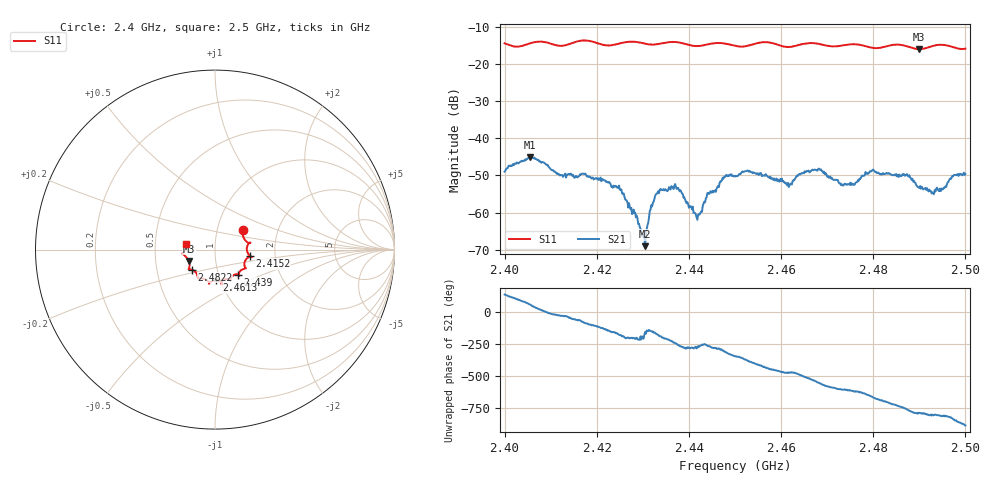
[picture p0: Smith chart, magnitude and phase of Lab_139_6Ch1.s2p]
# Hz S RI R 50
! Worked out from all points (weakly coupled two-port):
!   601 points, 2.4 GHz to 2.5 GHz, reference 50 ohm
!   highest |S21| = -45.05 dB at 2.4055 GHz (marker M1); lowest = -69.1 dB at 2.4305 GHz (marker M2)
!   lowest |S11| = -15.9 dB at 2.49 GHz (marker M3), VSWR 1.38, Z = 36.9 - j4.84 ohm
!   |S11| at or under -10 dB: start of sweep to end of sweep
!   S12 and S22 are empty: the file has one direction only
!   S11 on the Smith chart (normalised r, x): 2.4 GHz: 1.33, +0.31; 2.4152 GHz: 1.48, -0.11; 2.439 GHz: 1.24, -0.36; 2.4613 GHz: 0.96, -0.34; 2.4822 GHz: 0.76, -0.17; 2.5 GHz: 0.72, +0.05
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2.4e9  0.1562 0.1113  -0.00245 0.00258  0 0  0 0
2.4055e9  0.1876 0.0377  0.00312 0.00464  0 0  0 0
2.415167e9  0.1947 -0.0358  0.00153 -0.00251  0 0  0 0
2.416667e9  0.2043 -0.0418  0.00084 -0.00322  0 0  0 0
2.424833e9  0.1654 -0.0938  -0.00231 2.59e-05  0 0  0 0
2.4305e9  0.1537 -0.1103  -0.000331 -0.000119  0 0  0 0
2.432e9  0.1393 -0.1202  -0.0011 -0.000486  0 0  0 0
2.433333e9  0.1329 -0.1324  -0.00193 4.47e-05  0 0  0 0
2.436667e9  0.1356 -0.1471  -0.000965 0.00184  0 0  0 0
2.439e9  0.1283 -0.1392  0.00037 0.00156  0 0  0 0
2.442e9  0.0987 -0.1457  -2.07e-05 0.000937  0 0  0 0
2.444333e9  0.0853 -0.1665  -3.54e-05 0.00178  0 0  0 0
2.45e9  0.0687 -0.1637  0.00299 0.000614  0 0  0 0
2.453e9  0.0387 -0.1747  0.00319 -0.0016  0 0  0 0
2.461333e9  0.00793 -0.1709  -0.00113 -0.00203  0 0  0 0
2.466667e9  -0.0333 -0.1904  -0.00369 -0.000567  0 0  0 0
2.4735e9  -0.0821 -0.1603  -0.000762 0.00218  0 0  0 0
2.482167e9  -0.1281 -0.112  0.00317 0.00122  0 0  0 0
2.483333e9  -0.1394 -0.1104  0.00337 0.000538  0 0  0 0
2.49e9  -0.1467 -0.0639  0.000732 -0.00201  0 0  0 0
2.493e9  -0.1748 -0.028  4.67e-06 -0.00184  0 0  0 0
2.5e9  -0.1588 0.0332  -0.00326 -0.000633  0 0  0 0
